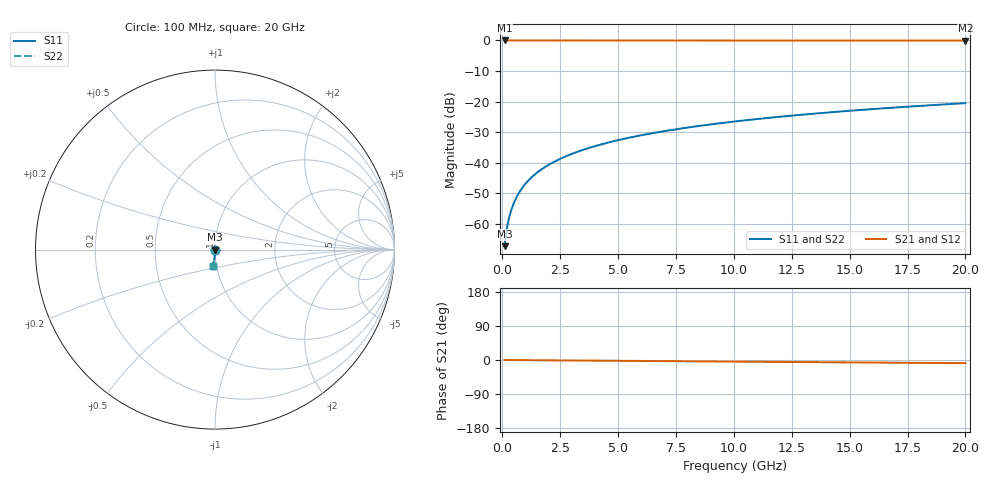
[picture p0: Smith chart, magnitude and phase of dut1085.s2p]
! Touchstone file exported from HFSS 2026.1.0
!  File:  C:/ffzhzh/LocalFiles/Ansys_Project_Files/temp_train_TSV_1085_1783190206_51560.aedt
!  Generated:  02:38:07 AM Jul  5, 2026
!  Design:  TSV
!  Project:  temp_train_TSV_1085_1783190206_51560
! Variables:
!  h_bsmrdl = 2um
!  h_ox = 20um
!  h_rdl = 5um
!  h_sub = 68.68um
!  h_tmrdl = 5um
!  h_tsv = 68.68um
!  h_via = 3um
!  l_bsmrdl = 300um
!  l_sub = 427.34um
!  l_tmrdl = 200um
!  m_sub = 200um
!  pitch = 32.78um
!  r_tsv = 13.67um
!  s_tmrdl = 10um
!  w_bsmrdl = 18um
!  w_sub = 500um
!  w_tmrdl = 12um
!  x_tsv_center1 = 206um
!  x_tsv_center2 = 524um
!  x_tsv_center3 = 736um
!  x_tsv_center4 = 1054um
!  x_tsv_center5 = 1266um
!  x_tsv_center6 = 1584um
# GHz S MA R 50.000000
! Terminal data exported
! Port[1] = TSV1_1_T1
! Port[2] = TSV1_1_T2
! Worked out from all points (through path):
!   200 points, 100 MHz to 20 GHz, reference 50 ohm
!   highest |S21| = 0.00 dB at 100 MHz (marker M1); lowest = 0.0 dB at 20 GHz (marker M2)
!   group delay of S21, straight-line fit = 1.17 ps
!   lowest |S11| = -67.3 dB at 100 MHz (marker M3), VSWR 1.00, Z = 50 - j0.0425 ohm
!   |S11| at or under -10 dB: start of sweep to end of sweep
!   |S22| runs from -67.3 to -20.5 dB; largest |S21 - S12| = 1.1e-15
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0.1  0.0004333 -78.7  0.9999 -0.0  0.9999 -0.0  0.0004333 -78.7
! Gamma 0 0 0 0
! Port Impedance 50 0 50 0
0.2  0.000861 -83.2  0.9999 -0.1  0.9999 -0.1  0.000861 -83.2
0.3  0.001299 -84.5  0.9999 -0.1  0.9999 -0.1  0.001299 -84.5
0.4  0.001747 -85.1  0.9998 -0.2  0.9998 -0.2  0.001747 -85.1
0.5  0.002204 -85.4  0.9998 -0.2  0.9998 -0.2  0.002204 -85.4
0.7  0.003132 -86.0  0.9998 -0.3  0.9998 -0.3  0.003132 -86.0
0.8  0.003601 -86.3  0.9997 -0.4  0.9997 -0.4  0.003601 -86.3
1  0.004543 -86.8  0.9997 -0.4  0.9997 -0.4  0.004543 -86.8
1.2  0.005487 -87.2  0.9997 -0.5  0.9997 -0.5  0.005487 -87.2
1.4  0.006431 -87.6  0.9996 -0.6  0.9996 -0.6  0.006431 -87.6
1.7  0.007847 -88.1  0.9996 -0.7  0.9996 -0.7  0.007847 -88.1
2  0.009261 -88.5  0.9996 -0.9  0.9996 -0.9  0.009261 -88.5
2.7  0.01256 -89.2  0.9995 -1.2  0.9995 -1.2  0.01256 -89.2
3.5  0.01634 -89.8  0.9994 -1.5  0.9994 -1.5  0.01634 -89.8
4.2  0.01965 -90.2  0.9993 -1.8  0.9993 -1.8  0.01965 -90.2
5  0.02344 -90.7  0.9991 -2.1  0.9991 -2.1  0.02344 -90.7
6.8  0.03197 -91.6  0.9988 -2.9  0.9988 -2.9  0.03197 -91.6
8.3  0.0391 -92.4  0.9984 -3.5  0.9984 -3.5  0.0391 -92.4
10.1  0.04764 -93.2  0.998 -4.3  0.998 -4.3  0.04764 -93.2
13.4  0.06327 -94.8  0.997 -5.7  0.997 -5.7  0.06327 -94.8
16.7  0.07886 -96.3  0.9958 -7.1  0.9958 -7.1  0.07886 -96.3
20  0.09437 -97.7  0.9943 -8.4  0.9943 -8.4  0.09437 -97.7
